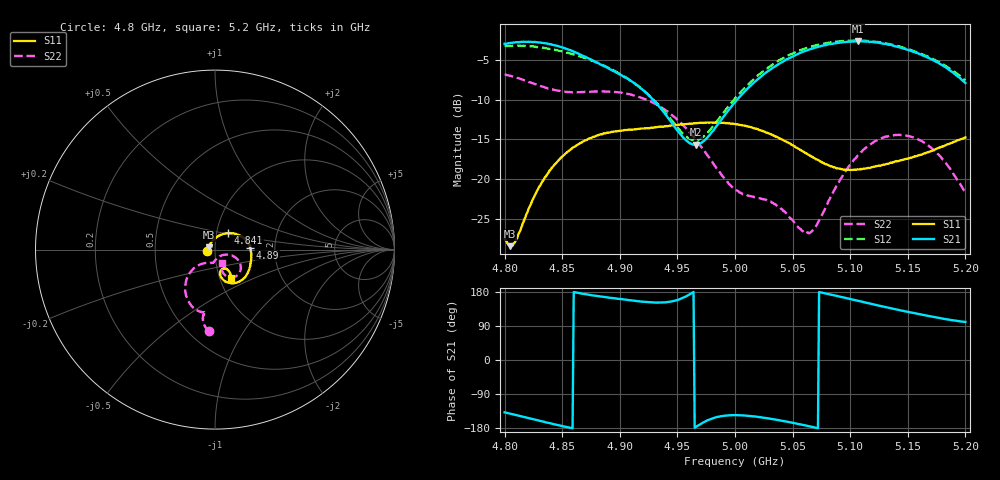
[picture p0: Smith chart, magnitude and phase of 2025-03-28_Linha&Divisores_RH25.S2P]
! Network Analyzer HP8722D
! Hewlett-Packard
! Data name: Meandro+Wilkinson
! Saver's name: Rodrigo Anjos
! Comments: Temp 23.95°C - RH 25.41% - Freq 4.8~5.2 GHz
! Time and date: 28/3/2025 16:16
!  Frequency  S11  S21  S12  S22
# HZ  S  DB R 50
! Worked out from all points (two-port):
!   401 points, 4.8 GHz to 5.2 GHz, reference 50 ohm
!   highest |S21| = -2.64 dB at 5.107 GHz (marker M1); lowest = -15.7 dB at 4.966 GHz (marker M2)
!   |S21| within 3 dB of the highest: start of sweep to 4.884 GHz; 5.036 GHz to 5.18 GHz (143.2 MHz wide, 2.8 % of centre)
!   lowest |S11| = -28.4 dB at 4.805 GHz (marker M3), VSWR 1.08, Z = 46.6 + j1.24 ohm
!   |S11| at or under -10 dB: start of sweep to end of sweep
!   |S22| runs from -26.8 to -6.8 dB; largest |S21 - S12| = 0.081
!   S11 on the Smith chart (normalised r, x): 4.8 GHz: 0.92, -0.01; 4.841 GHz: 1.14, +0.21; 4.89 GHz: 1.48, +0.03; 5.2 GHz: 1.13, -0.37
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4.8e9  -27.47 -171.0  -2.97 -138.1  -3.26 -136.1  -6.84 -94.1
4.805e9  -28.44 159.5  -2.87 -141.7  -3.22 -139.6  -7.00 -95.5
4.811e9  -27.42 124.6  -2.76 -146.1  -3.18 -143.8  -7.27 -97.2
4.825e9  -22.44 77.6  -2.76 -156.3  -3.29 -153.0  -7.96 -99.7
4.841e9  -18.57 51.4  -3.07 -168.1  -3.65 -163.1  -8.71 -99.8
4.867e9  -15.38 22.6  -4.41 175.2  -4.63 -177.7  -9.03 -98.9
4.89e9  -14.18 3.1  -6.06 164.8  -5.98 170.8  -8.98 -104.1
4.913e9  -13.73 -11.2  -7.98 156.3  -7.93 161.4  -9.52 -114.1
4.934e9  -13.42 -21.6  -10.85 151.3  -10.70 157.8  -10.81 -125.0
4.956e9  -13.11 -31.7  -14.91 165.8  -14.42 171.5  -13.39 -135.2
4.966e9  -12.97 -36.6  -15.66 -176.6  -15.11 -172.1  -15.05 -138.0
4.976e9  -12.87 -41.6  -14.78 -159.2  -14.20 -155.8  -17.00 -138.0
5e9  -13.09 -54.7  -10.31 -145.7  -9.83 -143.2  -21.24 -121.4
5.033e9  -14.48 -71.2  -5.96 -156.1  -5.53 -154.7  -22.99 -96.5
5.06e9  -16.61 -78.1  -3.92 -171.9  -3.60 -171.4  -26.74 -66.1
5.067e9  -17.19 -78.0  -3.58 -176.6  -3.26 -176.1  -26.52 -48.0
5.087e9  -18.55 -73.0  -2.90 169.8  -2.74 170.4  -21.17 -19.7
5.107e9  -18.79 -65.0  -2.64 156.0  -2.55 156.6  -16.94 -24.5
5.134e9  -18.00 -59.0  -3.11 137.5  -3.02 138.4  -14.55 -43.1
5.166e9  -16.68 -57.1  -4.60 117.5  -4.49 118.8  -15.59 -65.2
5.181e9  -15.85 -57.8  -5.78 108.8  -5.56 110.6  -17.60 -71.4
5.2e9  -14.76 -61.3  -7.91 100.4  -7.58 101.4  -21.62 -61.2
